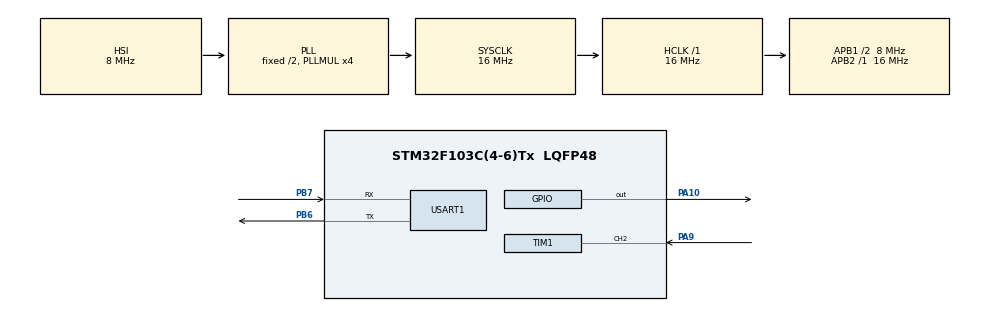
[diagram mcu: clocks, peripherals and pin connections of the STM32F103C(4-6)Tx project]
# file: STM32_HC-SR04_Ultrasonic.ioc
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Dma.Request0=USART1_TX
Dma.USART1_TX.0.Direction=DMA_MEMORY_TO_PERIPH
Dma.USART1_TX.0.Instance=DMA1_Channel4
Dma.USART1_TX.0.MemDataAlignment=DMA_MDATAALIGN_BYTE
Dma.USART1_TX.0.MemInc=DMA_MINC_ENABLE
Dma.USART1_TX.0.Mode=DMA_CIRCULAR
Dma.USART1_TX.0.PeriphDataAlignment=DMA_PDATAALIGN_BYTE
Dma.USART1_TX.0.PeriphInc=DMA_PINC_DISABLE
Dma.USART1_TX.0.Priority=DMA_PRIORITY_LOW
Mcu.Family=STM32F1
Mcu.Name=STM32F103C(4-6)Tx
Mcu.Package=LQFP48
NVIC.DMA1_Channel4_IRQn=true\:0\:0\:false\:false\:true\:false\:true\:true
NVIC.PriorityGroup=NVIC_PRIORITYGROUP_4
NVIC.TIM1_CC_IRQn=true\:0\:0\:false\:false\:true\:true\:true\:true
NVIC.USART1_IRQn=true\:0\:0\:false\:false\:true\:false\:true\:true
PA10.Signal=GPIO_Output
PA9.Signal=S_TIM1_CH2
PB6.Mode=Asynchronous
PB6.Signal=USART1_TX
PB7.Mode=Asynchronous
PB7.Signal=USART1_RX
PD0-OSC_IN.Mode=HSE-External-Oscillator
PD0-OSC_IN.Signal=RCC_OSC_IN
PD1-OSC_OUT.Mode=HSE-External-Oscillator
PD1-OSC_OUT.Signal=RCC_OSC_OUT
ProjectManager.HeapSize=0x200
ProjectManager.StackSize=0x400
ProjectManager.TargetToolchain=STM32CubeIDE
RCC.AHBFreq_Value=16000000
RCC.APB1CLKDivider=RCC_HCLK_DIV2
RCC.APB1Freq_Value=8000000
RCC.APB1TimFreq_Value=16000000
RCC.APB2Freq_Value=16000000
RCC.APB2TimFreq_Value=16000000
RCC.HCLKFreq_Value=16000000
RCC.PLLMUL=RCC_PLL_MUL4
RCC.SYSCLKFreq_VALUE=16000000
RCC.SYSCLKSource=RCC_SYSCLKSOURCE_PLLCLK
RCC.USBFreq_Value=16000000
SH.S_TIM1_CH2.0=TIM1_CH2,Input_Capture2_from_TI2
TIM1.Channel-Input_Capture2_from_TI2=TIM_CHANNEL_2
TIM1.Prescaler=16-1
USART1.VirtualMode=VM_ASYNC
VP_SYS_VS_ND.Mode=No_Debug
board=custom

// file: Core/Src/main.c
/* USER CODE BEGIN Header */
/**
  ******************************************************************************
  * @file           : main.c
  * @brief          : Main program body
  ******************************************************************************
  * @attention
  *
  * Copyright (c) 2024 STMicroelectronics.
  * All rights reserved.
  *
  * This software is licensed under terms that can be found in the LICENSE file
  * in the root directory of this software component.
  * If no LICENSE file comes with this software, it is provided AS-IS.
  *
  ******************************************************************************
  */
/* USER CODE END Header */
#include "main.h"

/* USER CODE BEGIN Includes */
#include "stdio.h"
#include "string.h"
/* USER CODE END Includes */

/* USER CODE BEGIN PTD */
#define TRIG_PIN GPIO_PIN_10
#define TRIG_PORT GPIOA
/* USER CODE END PTD */

/* USER CODE BEGIN PD */
uint32_t IC_Val1 = 0;
uint32_t IC_Val2 = 0;
uint32_t Difference = 0;
uint8_t  Is_First_Captured = 0;  // is the first value captured ?
uint8_t  Distance  = 0;
/* USER CODE END PD */

TIM_HandleTypeDef htim1;

UART_HandleTypeDef huart1;
DMA_HandleTypeDef hdma_usart1_tx;

void SystemClock_Config(void);
static void MX_GPIO_Init(void);
static void MX_DMA_Init(void);
static void MX_TIM1_Init(void);
static void MX_USART1_UART_Init(void);

/* USER CODE BEGIN 0 */
void HAL_TIM_IC_CaptureCallback(TIM_HandleTypeDef *htim)
{
    if (htim->Channel == HAL_TIM_ACTIVE_CHANNEL_2)  // if the interrupt source is channel1
    {
        if (Is_First_Captured==0) // if the first value is not captured
        {
            IC_Val1 = HAL_TIM_ReadCapturedValue(htim, TIM_CHANNEL_2); // read the first value
            Is_First_Captured = 1;  // set the first captured as true
            // Now change the polarity to falling edge
            __HAL_TIM_SET_CAPTUREPOLARITY(htim, TIM_CHANNEL_2, TIM_INPUTCHANNELPOLARITY_FALLING);
        }

        else if (Is_First_Captured==1)   // if the first is already captured
        {
            IC_Val2 = HAL_TIM_ReadCapturedValue(htim, TIM_CHANNEL_2);  // read second value
            __HAL_TIM_SET_COUNTER(htim, 0);  // reset the counter

            if (IC_Val2 > IC_Val1)
            {
                Difference = IC_Val2-IC_Val1;
            }

            else if (IC_Val1 > IC_Val2)
            {
                Difference = (0xffff - IC_Val1) + IC_Val2;
            }

            Distance = Difference * (0.034/2);
            Is_First_Captured = 0; // set it back to false

            // set polarity to rising edge
            __HAL_TIM_SET_CAPTUREPOLARITY(htim, TIM_CHANNEL_2, TIM_INPUTCHANNELPOLARITY_RISING);
            __HAL_TIM_DISABLE_IT(&htim1, TIM_IT_CC2);
        }
    }
}

void HCSR04_Read (void)
{
    HAL_GPIO_WritePin(TRIG_PORT, TRIG_PIN, GPIO_PIN_SET);  // pull the TRIG pin HIGH
    HAL_Delay(10);  // wait for 10 us
    HAL_GPIO_WritePin(TRIG_PORT, TRIG_PIN, GPIO_PIN_RESET);  // pull the TRIG pin low

    __HAL_TIM_ENABLE_IT(&htim1, TIM_IT_CC2);
}
/* USER CODE END 0 */

int main(void)
{

  /* USER CODE BEGIN 1 */
  char MSG[40];

  /* USER CODE END 1 */

  /* MCU Configuration--------------------------------------------------------*/

  /* Reset of all peripherals, Initializes the Flash interface and the Systick. */
  HAL_Init();

  /* Configure the system clock */
  SystemClock_Config();

  /* Initialize all configured peripherals */
  MX_GPIO_Init();
  MX_DMA_Init();
  MX_TIM1_Init();
  MX_USART1_UART_Init();
  /* USER CODE BEGIN 2 */
  HAL_TIM_IC_Start_IT(&htim1, TIM_CHANNEL_2);

  /* USER CODE END 2 */

  /* Infinite loop */
  while (1)
  {

    /* USER CODE BEGIN 3 */
    HCSR04_Read();
    sprintf(MSG,"Distance : %d cm\n\r",Distance);
    HAL_UART_Transmit(&huart1,(uint8_t*)MSG, strlen(MSG),100);
    HAL_Delay(500);
  }
  /* USER CODE END 3 */
}

void SystemClock_Config(void)
{
  RCC_OscInitTypeDef RCC_OscInitStruct = {0};
  RCC_ClkInitTypeDef RCC_ClkInitStruct = {0};

  /** Initializes the RCC Oscillators according to the specified parameters
  * in the RCC_OscInitTypeDef structure.
  */
  RCC_OscInitStruct.OscillatorType = RCC_OSCILLATORTYPE_HSI;
  RCC_OscInitStruct.HSIState = RCC_HSI_ON;
  RCC_OscInitStruct.HSICalibrationValue = RCC_HSICALIBRATION_DEFAULT;
  RCC_OscInitStruct.PLL.PLLState = RCC_PLL_ON;
  RCC_OscInitStruct.PLL.PLLSource = RCC_PLLSOURCE_HSI_DIV2;
  RCC_OscInitStruct.PLL.PLLMUL = RCC_PLL_MUL4;
  if (HAL_RCC_OscConfig(&RCC_OscInitStruct) != HAL_OK)
  {
    Error_Handler();
  }

  /** Initializes the CPU, AHB and APB buses clocks
  */
  RCC_ClkInitStruct.ClockType = RCC_CLOCKTYPE_HCLK|RCC_CLOCKTYPE_SYSCLK
                              |RCC_CLOCKTYPE_PCLK1|RCC_CLOCKTYPE_PCLK2;
  RCC_ClkInitStruct.SYSCLKSource = RCC_SYSCLKSOURCE_PLLCLK;
  RCC_ClkInitStruct.AHBCLKDivider = RCC_SYSCLK_DIV1;
  RCC_ClkInitStruct.APB1CLKDivider = RCC_HCLK_DIV2;
  RCC_ClkInitStruct.APB2CLKDivider = RCC_HCLK_DIV1;

  if (HAL_RCC_ClockConfig(&RCC_ClkInitStruct, FLASH_LATENCY_0) != HAL_OK)
  {
    Error_Handler();
  }
}

static void MX_TIM1_Init(void)
{

  TIM_MasterConfigTypeDef sMasterConfig = {0};
  TIM_IC_InitTypeDef sConfigIC = {0};

  htim1.Instance = TIM1;
  htim1.Init.Prescaler = 16-1;
  htim1.Init.CounterMode = TIM_COUNTERMODE_UP;
  htim1.Init.Period = 65535;
  htim1.Init.ClockDivision = TIM_CLOCKDIVISION_DIV1;
  htim1.Init.RepetitionCounter = 0;
  htim1.Init.AutoReloadPreload = TIM_AUTORELOAD_PRELOAD_DISABLE;
  if (HAL_TIM_IC_Init(&htim1) != HAL_OK)
  {
    Error_Handler();
  }
  sMasterConfig.MasterOutputTrigger = TIM_TRGO_RESET;
  sMasterConfig.MasterSlaveMode = TIM_MASTERSLAVEMODE_DISABLE;
  if (HAL_TIMEx_MasterConfigSynchronization(&htim1, &sMasterConfig) != HAL_OK)
  {
    Error_Handler();
  }
  sConfigIC.ICPolarity = TIM_INPUTCHANNELPOLARITY_RISING;
  sConfigIC.ICSelection = TIM_ICSELECTION_DIRECTTI;
  sConfigIC.ICPrescaler = TIM_ICPSC_DIV1;
  sConfigIC.ICFilter = 0;
  if (HAL_TIM_IC_ConfigChannel(&htim1, &sConfigIC, TIM_CHANNEL_2) != HAL_OK)
  {
    Error_Handler();
  }

}

static void MX_USART1_UART_Init(void)
{

  huart1.Instance = USART1;
  huart1.Init.BaudRate = 115200;
  huart1.Init.WordLength = UART_WORDLENGTH_8B;
  huart1.Init.StopBits = UART_STOPBITS_1;
  huart1.Init.Parity = UART_PARITY_NONE;
  huart1.Init.Mode = UART_MODE_TX_RX;
  huart1.Init.HwFlowCtl = UART_HWCONTROL_NONE;
  huart1.Init.OverSampling = UART_OVERSAMPLING_16;
  if (HAL_UART_Init(&huart1) != HAL_OK)
  {
    Error_Handler();
  }

}

static void MX_DMA_Init(void)
{

  /* DMA controller clock enable */
  __HAL_RCC_DMA1_CLK_ENABLE();

  /* DMA interrupt init */
  /* DMA1_Channel4_IRQn interrupt configuration */
  HAL_NVIC_SetPriority(DMA1_Channel4_IRQn, 0, 0);
  HAL_NVIC_EnableIRQ(DMA1_Channel4_IRQn);

}

static void MX_GPIO_Init(void)
{
  GPIO_InitTypeDef GPIO_InitStruct = {0};

  /* GPIO Ports Clock Enable */
  __HAL_RCC_GPIOD_CLK_ENABLE();
  __HAL_RCC_GPIOA_CLK_ENABLE();
  __HAL_RCC_GPIOB_CLK_ENABLE();

  /*Configure GPIO pin Output Level */
  HAL_GPIO_WritePin(GPIOA, GPIO_PIN_10, GPIO_PIN_RESET);

  /*Configure GPIO pin : PA10 */
  GPIO_InitStruct.Pin = GPIO_PIN_10;
  GPIO_InitStruct.Mode = GPIO_MODE_OUTPUT_PP;
  GPIO_InitStruct.Pull = GPIO_NOPULL;
  GPIO_InitStruct.Speed = GPIO_SPEED_FREQ_LOW;
  HAL_GPIO_Init(GPIOA, &GPIO_InitStruct);

}

void Error_Handler(void)
{
  __disable_irq();
  while (1)
  {
  }
}
